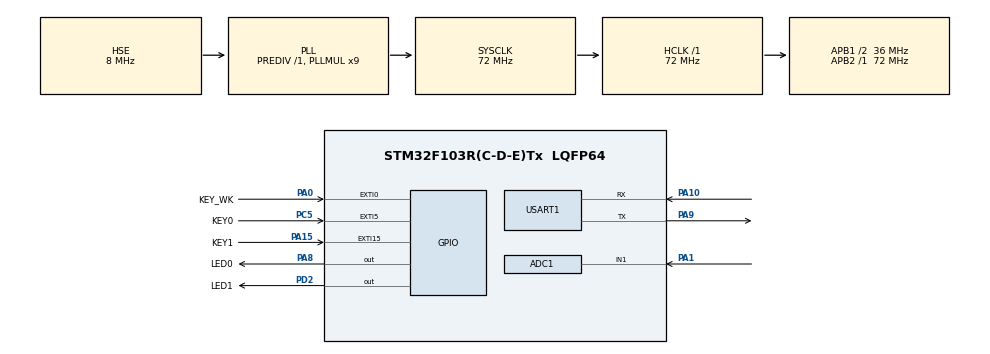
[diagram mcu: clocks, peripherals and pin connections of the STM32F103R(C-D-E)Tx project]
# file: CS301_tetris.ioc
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ADC1.Channel-0\#ChannelRegularConversion=ADC_CHANNEL_1
ADC1.NbrOfConversionFlag=1
ADC1.Rank-0\#ChannelRegularConversion=1
ADC1.SamplingTime-0\#ChannelRegularConversion=ADC_SAMPLETIME_1CYCLE_5
ADC1.master=1
Mcu.Family=STM32F1
Mcu.Name=STM32F103R(C-D-E)Tx
Mcu.Package=LQFP64
NVIC.EXTI0_IRQn=true\:1\:0\:true\:false\:true\:true\:true
NVIC.EXTI15_10_IRQn=true\:1\:2\:true\:false\:true\:true\:true
NVIC.EXTI9_5_IRQn=true\:1\:1\:true\:false\:true\:true\:true
NVIC.PriorityGroup=NVIC_PRIORITYGROUP_2
NVIC.USART1_IRQn=true\:0\:0\:false\:false\:true\:true\:true
PA0-WKUP.GPIO_Label=KEY_WK
PA0-WKUP.GPIO_PuPd=GPIO_PULLDOWN
PA0-WKUP.Signal=GPXTI0
PA1.Signal=ADCx_IN1
PA10.Mode=Asynchronous
PA10.Signal=USART1_RX
PA13.Mode=Serial_Wire
PA13.Signal=SYS_JTMS-SWDIO
PA14.Mode=Serial_Wire
PA14.Signal=SYS_JTCK-SWCLK
PA15.GPIO_Label=KEY1
PA15.GPIO_PuPd=GPIO_PULLUP
PA15.Signal=GPXTI15
PA8.GPIO_Label=LED0
PA8.Signal=GPIO_Output
PA9.Mode=Asynchronous
PA9.Signal=USART1_TX
PC5.GPIO_Label=KEY0
PC5.GPIO_PuPd=GPIO_PULLUP
PC5.Signal=GPXTI5
PD0-OSC_IN.Mode=HSE-External-Oscillator
PD0-OSC_IN.Signal=RCC_OSC_IN
PD1-OSC_OUT.Mode=HSE-External-Oscillator
PD1-OSC_OUT.Signal=RCC_OSC_OUT
PD2.GPIO_Label=LED1
PD2.Signal=GPIO_Output
ProjectManager.HeapSize=0x200
ProjectManager.StackSize=0x400
ProjectManager.TargetToolchain=STM32CubeIDE
RCC.ADCPresc=RCC_ADCPCLK2_DIV6
RCC.AHBFreq_Value=72000000
RCC.APB1CLKDivider=RCC_HCLK_DIV2
RCC.APB1Freq_Value=36000000
RCC.APB1TimFreq_Value=72000000
RCC.APB2Freq_Value=72000000
RCC.APB2TimFreq_Value=72000000
RCC.HCLKFreq_Value=72000000
RCC.PLLMUL=RCC_PLL_MUL9
RCC.PLLSourceVirtual=RCC_PLLSOURCE_HSE
RCC.SYSCLKFreq_VALUE=72000000
RCC.SYSCLKSource=RCC_SYSCLKSOURCE_PLLCLK
RCC.USBFreq_Value=72000000
SH.ADCx_IN1.0=ADC1_IN1,IN1
USART1.VirtualMode=VM_ASYNC
board=custom

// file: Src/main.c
/* USER CODE BEGIN Header */
/**
 ******************************************************************************
 * @file           : main.c
 * @brief          : Main program body
 ******************************************************************************
 * @attention
 *
 * <h2><center>&copy; Copyright (c) 2019 STMicroelectronics.
 * All rights reserved.</center></h2>
 *
 * This software component is licensed by ST under BSD 3-Clause license,
 * the "License"; You may not use this file except in compliance with the
 * License. You may obtain a copy of the License at:
 *                        opensource.org/licenses/BSD-3-Clause
 *
 ******************************************************************************
 */
/* USER CODE END Header */

#include "main.h"
#include "adc.h"
#include "usart.h"
#include "gpio.h"

/* USER CODE BEGIN Includes */
#include <stdlib.h>
#include <time.h>
#include "lcd.h"
/* USER CODE END Includes */

/* USER CODE BEGIN PV */
int board[20][10] = { 0 };
int square[2][4] = { 0 };
int nextSquare[2][4] = { 0 };

int cell_size = 15;

int score = 0;
int level = 1;
int delaytime = 750;
int id[3] = { -1 }; // initial ids
uint16_t colortable[10] = { WHITE, WHITE, LIGHTBLUE, GREEN, BLUE, YELLOW, CYAN,
GRAY, BRRED, BLACK };

int cp_row = 0; // central point row
int cp_column = 0; // central point column
int cp_list[2][2] = { 0 };
int last_position[4][2] = { 0 };
/* USER CODE END PV */

void SystemClock_Config(void);

/* USER CODE BEGIN 0 */
void DrawElements() { // Basic elements in the board
	LCD_Clear(WHITE);
	POINT_COLOR = BLACK;
	LCD_DrawRectangle(5, 2, 155, 305);
	LCD_DrawRectangle(162, 2, 228, 62);
	LCD_DrawRectangle(162, 67, 228, 132);
	LCD_ShowString(165, 140, 100, 12, 12, (uint8_t*) "Score:");
	LCD_ShowxNum(205, 140, score, 4, 12, 0);
	LCD_ShowString(165, 160, 100, 12, 12, (uint8_t*) "Level:");
	LCD_ShowxNum(205, 160, level, 4, 12, 0);
}

void CreateSquare() { // Generate random new born square
	int index = rand() % 8 + 2;
	switch (index) {
	case 2:
		nextSquare[0][0] = 1, nextSquare[0][1] = 1;
		nextSquare[0][2] = 1, nextSquare[0][3] = 1;
		nextSquare[1][0] = 0, nextSquare[1][1] = 0;
		nextSquare[1][2] = 0, nextSquare[1][3] = 0;
		cp_list[1][0] = 0;
		cp_list[1][1] = 4;
		break;
	case 3:
		nextSquare[0][0] = 0, nextSquare[0][1] = 1;
		nextSquare[0][2] = 1, nextSquare[0][3] = 0;
		nextSquare[1][0] = 0, nextSquare[1][1] = 1;
		nextSquare[1][2] = 1, nextSquare[1][3] = 0;
		cp_list[1][0] = 0;
		cp_list[1][1] = 4;
		break;
	case 4:
		nextSquare[0][0] = 0, nextSquare[0][1] = 1;
		nextSquare[0][2] = 0, nextSquare[0][3] = 0;
		nextSquare[1][0] = 1, nextSquare[1][1] = 1;
		nextSquare[1][2] = 1, nextSquare[1][3] = 0;
		cp_list[1][0] = 0;
		cp_list[1][1] = 3;
		break;
	case 5:
		nextSquare[0][0] = 0, nextSquare[0][1] = 0;
		nextSquare[0][2] = 1, nextSquare[0][3] = 0;
		nextSquare[1][0] = 1, nextSquare[1][1] = 1;
		nextSquare[1][2] = 1, nextSquare[1][3] = 0;
		cp_list[1][0] = 0;
		cp_list[1][1] = 3;
		break;
	case 6:
		nextSquare[0][0] = 1, nextSquare[0][1] = 0;
		nextSquare[0][2] = 0, nextSquare[0][3] = 0;
		nextSquare[1][0] = 1, nextSquare[1][1] = 1;
		nextSquare[1][2] = 1, nextSquare[1][3] = 0;
		cp_list[1][0] = 0;
		cp_list[1][1] = 3;
		break;
	case 7:
		nextSquare[0][0] = 0, nextSquare[0][1] = 1;
		nextSquare[0][2] = 1, nextSquare[0][3] = 0;
		nextSquare[1][0] = 1, nextSquare[1][1] = 1;
		nextSquare[1][2] = 0, nextSquare[1][3] = 0;
		cp_list[1][0] = 0;
		cp_list[1][1] = 3;
		break;
	case 8:
		nextSquare[0][0] = 1, nextSquare[0][1] = 1;
		nextSquare[0][2] = 0, nextSquare[0][3] = 0;
		nextSquare[1][0] = 0, nextSquare[1][1] = 1;
		nextSquare[1][2] = 1, nextSquare[1][3] = 0;
		cp_list[1][0] = 0;
		cp_list[1][1] = 3;
		break;
	case 9:
		nextSquare[0][0] = 0, nextSquare[0][1] = 1;
		nextSquare[0][2] = 1, nextSquare[0][3] = 0;
		nextSquare[1][0] = 0, nextSquare[1][1] = 1;
		nextSquare[1][2] = 1, nextSquare[1][3] = 0;
		cp_list[1][0] = 0;
		cp_list[1][1] = 4;
		break;
	}
	id[2] = index;
}

void Convert() { // Convert id and cp_list
	id[0] = id[1];
	cp_row = cp_list[0][0];
	cp_column = cp_list[0][1];
	id[1] = id[2];
	cp_list[0][0] = cp_list[1][0];
	cp_list[0][1] = cp_list[1][1];
}

void BringNexttoBoard() {  // Bring the next block to the board
	int row = 0;
	int column = 0;
	for (row = 0; row < 2; row++) {
		for (column = 0; column < 4; column++) {
			board[row][column + 3] = square[row][column];
		}
	}
}

void DrawNewBornBlock() { // Draw the new born block
	int row = 0;
	int col = 0;
	for (row = 0; row < 2; row++) {
		for (col = 0; col < 4; col++) {
			int x1 = col * cell_size + 165;
			int y1 = row * cell_size + 85;
			LCD_Fill(x1, y1, x1 + cell_size, y1 + cell_size, WHITE);
		}
	}
	for (row = 0; row < 2; row++) {
		for (col = 0; col < 4; col++) {
			if (nextSquare[row][col] == 1) {
				int x1 = col * cell_size + 165;
				int y1 = row * cell_size + 85;
				LCD_Fill(x1, y1, x1 + cell_size, y1 + cell_size,
						colortable[id[2]]);
				LCD_Fill(x1, y1, x1 + cell_size, y1 + 1, BLACK);
				LCD_Fill(x1, y1, x1 + 1, y1 + cell_size, BLACK);
				LCD_Fill(x1 + cell_size - 1, y1, x1 + cell_size, y1 + cell_size,
								BLACK);
				LCD_Fill(x1, y1 + cell_size - 1, x1 + cell_size, y1 + cell_size,
								BLACK);
			}
		}
	}
	if (id[2] == 9) { // TNT
		LCD_Fill(188, 93, 202, 98, RED);
		LCD_Fill(193, 98, 197, 110, RED);
	}
}

void DrawNextBlock() {  // Draw the next block
	int row = 0;
	int col = 0;
	for (row = 0; row < 2; row++) {
		for (col = 0; col < 4; col++) {
			square[row][col] = nextSquare[row][col];
		}
	}
	for (row = 0; row < 2; row++) {
		for (col = 0; col < 4; col++) {
			int x1 = col * cell_size + 165;
			int y1 = row * cell_size + 20;
			LCD_Fill(x1, y1, x1 + cell_size, y1 + cell_size, WHITE);
		}
	}
	for (row = 0; row < 2; row++) {
		for (col = 0; col < 4; col++) {
			if (square[row][col] == 1) {
				int x1 = col * cell_size + 165;
				int y1 = row * cell_size + 20;
				LCD_Fill(x1, y1, x1 + cell_size, y1 + cell_size,
						colortable[id[1]]);
				LCD_Fill(x1, y1, x1 + cell_size, y1 + 1, BLACK);
				LCD_Fill(x1, y1, x1 + 1, y1 + cell_size, BLACK);
				LCD_Fill(x1 + cell_size - 1, y1, x1 + cell_size, y1 + cell_size,
								BLACK);
				LCD_Fill(x1, y1 + cell_size - 1, x1 + cell_size, y1 + cell_size,
								BLACK);
			}
		}
	}
	if (id[1] == 9) {
		LCD_Fill(188, 28, 202, 33, RED);
		LCD_Fill(193, 33, 197, 45, RED);
	}
}

void DrawBlocks() { // Draw all the blocks on the board
	int xtnt = 0, ytnt = 0;
	int row = 0, col = 0;
	int num = 0, count = 0;
	for (num = 0; num < 4; num++) {
		int x1 = last_position[num][1] * cell_size + 5;
		int y1 = last_position[num][0] * cell_size + 5;
		LCD_Fill(x1, y1, x1 + cell_size, y1 + cell_size, WHITE);
	}
	for (row = 0; row < 20; row++) {
		for (col = 0; col < 10; col++) {
			if (board[row][col] == 1) {
				// living block
				int x1 = col * cell_size + 5;
				int y1 = row * cell_size + 5;
				xtnt = x1;
				ytnt = y1;
				LCD_Fill(x1, y1, x1 + cell_size, y1 + cell_size,
						colortable[id[0]]);
				last_position[count][1] = col;
				last_position[count][0] = row;
				count++;
				LCD_Fill(x1, y1, x1 + cell_size, y1 + 1, BLACK);
				LCD_Fill(x1, y1, x1 + 1, y1 + cell_size, BLACK);
				LCD_Fill(x1 + cell_size - 1, y1, x1 + cell_size, y1 + cell_size,
				BLACK);
				LCD_Fill(x1, y1 + cell_size - 1, x1 + cell_size, y1 + cell_size,
				BLACK);
			} else if (board[row][col] > 1) {
				// dead block
				int x1 = col * cell_size + 5;
				int y1 = row * cell_size + 5;
				LCD_Fill(x1, y1, x1 + cell_size, y1 + cell_size,
						colortable[board[row][col]]);
				LCD_Fill(x1, y1, x1 + cell_size, y1 + 1, BLACK);
				LCD_Fill(x1, y1, x1 + 1, y1 + cell_size, BLACK);
				LCD_Fill(x1 + cell_size - 1, y1, x1 + cell_size, y1 + cell_size,
				BLACK);
				LCD_Fill(x1, y1 + cell_size - 1, x1 + cell_size, y1 + cell_size,
				BLACK);
			}
		}
	}
	if (id[0] == 9) {
		xtnt = xtnt - 15;
		ytnt = ytnt - 15;
		LCD_Fill(xtnt + 8, ytnt + 8, xtnt + 22, ytnt + 13, RED);
		LCD_Fill(xtnt + 13, ytnt + 13, xtnt + 17, ytnt + 25, RED);
	}
}

void Initial() { // Initialize blocks at the beginning
	for (int i = 0; i < 20; i++) {
		for (int j = 0; j < 10; j++) {
			board[i][j] = 0;
		}
	}
	for (int i = 0; i < 3; i++) {
		BringNexttoBoard();
		Convert();
		DrawBlocks();
		DrawNextBlock();
		CreateSquare();
		DrawNewBornBlock();
	}
}

int CanSqureDown() { // Decide whether land
	for (int i = 0; i < 10; i++) {
		if (board[19][i] == 1) {
			return 0;
		}
	}
	for (int i = 18; i >= 0; i--) {
		for (int j = 0; j < 10; j++) {
			if (board[i][j] == 1 && board[i + 1][j] >= 2) {
				return 0;
			}
		}
	}
	return 1;
}

void SqureDown() { // Land one cell
	for (int i = 18; i >= 0; i--) {
		for (int j = 0; j < 10; j++) {
			if (board[i][j] == 1) {
				board[i + 1][j] = board[i][j];
				board[i][j] = 0;
			}
		}
	}
	cp_row++;
}

void TurnDeath() { // Landing block turn death
	int i = 0, j = 0;
	for (i = 0; i < 20; i++) {
		for (j = 0; j < 10; j++) {
			if (board[i][j] == 1) {
				board[i][j] = id[0];
			}
		}
	}
}

int CanShiftRight() { // Decide whether can shift right
	int i = 0, j = 0;
	for (i = 0; i < 20; i++) {
		if (board[i][9] == 1) {
			return 0;
		}
	}
	for (i = 0; i < 20; i++) {
		for (j = 9; j >= 0; j--) {
			if (board[i][j] == 1 && board[i][j + 1] > 1) {
				return 0;
			}
		}
	}
	return 1;
}

void ShiftRight() {
	if (CanShiftRight()) {
		int i = 0, j = 0;
		for (i = 0; i < 20; i++) {
			for (j = 9; j >= 0; j--) {
				if (board[i][j] == 1) {
					board[i][j + 1] = board[i][j];
					board[i][j] = 0;
				}
			}
		}
		cp_column++;
	}
}

int CanShiftLeft() { // Decide whether can shift left
	int i = 0, j = 0;
	for (i = 0; i < 20; i++) {
		if (board[i][0] == 1) {
			return 0;
		}
	}
	for (i = 0; i < 20; i++) {
		for (j = 0; j < 10; j++) {
			if (board[i][j] == 1 && board[i][j - 1] > 1) {
				return 0;
			}
		}
	}
	return 1;
}

void ShiftLeft() {
	if (CanShiftLeft()) {
		int i = 0, j = 0;
		for (i = 0; i < 20; i++) {
			for (j = 0; j < 10; j++) {
				if (board[i][j] == 1) {
					board[i][j - 1] = board[i][j];
					board[i][j] = 0;
				}
			}
		}
		cp_column--;
	}
}

int NormalShapeVerify() {
	if (id[0] == 3)
		return 1;
	if(id[0]==9)
		return 0;
	else {
		int i = 0, j = 0;
		for (i = 0; i < 3; i++) {
			for (j = 0; j < 3; j++) {
				if (board[i][j] > 1)
					return 0;
			}
		}
	}
	if (cp_column < 0)
		cp_column = 0;
	else if (cp_column > 7)
		cp_column = 7;

	return 1;

}

void NormalShapChange() {
	if (id[0] == 3 ||id[0]==9)
		return;
	else {
		int i = 0, j = 0;
		int tempAry[3][3] = { 0 };
		for (i = 0; i < 3; i++) {
			for (j = 0; j < 3; j++) {
				if (board[cp_row + i][cp_column + j] == 1)
					tempAry[i][j] = board[cp_row + i][cp_column + j];
			}
		}
		int temp2Ary[3][3] = { 0 };
		for (i = 0; i < 3; i++) {
			for (j = 0; j < 3; j++) {
				temp2Ary[i][j] = tempAry[2 - j][i];
			}
		}
		for (i = 0; i < 3; i++) {
			for (j = 0; j < 3; j++) {
				if (temp2Ary[i][j] == 1 && board[cp_row + i][cp_column + j] > 1)
					return;
			}
		}
		for (i = 0; i < 3; i++) {
			for (j = 0; j < 3; j++) {
				if (board[cp_row + i][cp_column + j] == 1)
					board[cp_row + i][cp_column + j] = 0;
			}
		}
		for (i = 0; i < 3; i++) {
			for (j = 0; j < 3; j++) {
				if (temp2Ary[i][j] == 1)
					board[cp_row + i][cp_column + j] = 1;
			}
		}

	}

}

int LongShapeVerify() {
	if (cp_row == 0 || cp_column == 0 || cp_column >= 8)
		return 0;
	int i = 0, j = 0;
	for (i = 1; i < 4; i++) { // |==>--, right
		if (board[cp_row][cp_column + i] > 1 || cp_column + i > 9)
			break;
	}
	for (j = 1; j < 4; j++) { // --==>|, left
		if (board[cp_row][cp_column - j] > 1 || cp_column - j < 0)
			break;
	}
	if (i + j < 5)
		return 0;
	return 1;
}

void LongShapeChange() {
	if (board[cp_row][cp_column - 1] == 1) { // -- ==>|
		if (cp_row + 2 > 19)
			return;
		board[cp_row][cp_column - 1] = 0;
		board[cp_row][cp_column + 1] = 0;
		board[cp_row][cp_column + 2] = 0;

		board[cp_row - 1][cp_column] = 1;
		board[cp_row + 1][cp_column] = 1;
		board[cp_row + 2][cp_column] = 1;

	} else { // | ==> --
		if (!(board[cp_row][cp_column - 1] + board[cp_row][cp_column + 1]
				+ board[cp_row][cp_column + 2] >= 6)) {
			if (cp_column + 2 > 9)
				return;
			board[cp_row - 1][cp_column] = 0;
			board[cp_row + 1][cp_column] = 0;
			board[cp_row + 2][cp_column] = 0;

			board[cp_row][cp_column - 1] = 1;
			board[cp_row][cp_column + 1] = 1;
			board[cp_row][cp_column + 2] = 1;
		}
	}
}

void ChangeVerify() {
	switch (id[0]) {
	case 2:
		if (LongShapeVerify())
			LongShapeChange();
		break;
	default:
		if (NormalShapeVerify())
			NormalShapChange();
		break;
	}
	DrawBlocks();
	LCD_DrawRectangle(5, 2, 155, 305);
}

void HAL_GPIO_EXTI_Callback(uint16_t GPIO_Pin) {
	switch (GPIO_Pin) {
	case KEY0_Pin:
		ShiftRight();
		HAL_Delay(75);
		break;
	case KEY1_Pin:
		ShiftLeft();
		HAL_Delay(75);
		break;
	case KEY_WK_Pin:
		HAL_Delay(125);
		ChangeVerify();
		HAL_Delay(125);
		break;
	default:
		break;
	}

}

void ChangeSpeed() {
	if (score >= 200 && score < 400) {
		delaytime = 500;
		level = 2;
	}
	if (score >= 400) {
		delaytime = 300;
		level = 3;
	}
}

void EliminateLine() {
	int i = 0, j = 0, k = 0;
	int flag = 1;
	int cflag = 0;
	for (i = 19; i >= 0; i--) {
		for (j = 0; j < 10; j++) {
			if (board[i][j] <= 1) {
				flag = 0;
				break;
			}
		}
		if (flag) {
			for (k = i - 1; k >= 0; k--) {
				for (j = 0; j < 10; j++) {
					board[k + 1][j] = board[k][j];
				}
			}
			cflag = 1;
			score += 100;
			ChangeSpeed();
			LCD_ShowxNum(205, 140, score, 4, 12, 0);
			LCD_ShowxNum(205, 160, level, 4, 12, 0);
			i++;
		}
		flag = 1;
	}
	if (cflag) {
		int row = 0, col = 0;
		for (row = 0; row < 20; row++) {
			for (col = 0; col < 10; col++) {
				int x1 = col * cell_size + 5;
				int y1 = row * cell_size + 5;
				LCD_Fill(x1, y1, x1 + cell_size, y1 + cell_size,
						colortable[board[row][col]]);
			}
		}
	}
}

int isGameOver() {
	int i = 0;
	for (i = 0; i < 10; i++) {
		if (board[0][i] >= 2) {
			return 1;
		}
	}
	return 0;
}

void Bomb() {
	int i = 0, j = 0;
	for (i = cp_row - 1; i <= cp_row + 2; i++) {
		for (j = cp_column - 1; j <= cp_column + 2; j++) {
			if (i >= 0 && i < 20 && j >= 0 && j < 10) {
				if (board[i][j] >= 2) {
					score += 20;
				}
				board[i][j] = 0;
				int x = j * cell_size + 5;
				int y = i * cell_size + 5;
				LCD_Fill(x, y, x + cell_size, y + cell_size, RED);
			}
		}
	}
	HAL_Delay(500);
	ChangeSpeed();
	LCD_ShowxNum(205, 140, score, 4, 12, 0);
	LCD_ShowxNum(205, 160, level, 4, 12, 0);
	for (i = cp_row - 1; i <= cp_row + 2; i++) {
		for (j = cp_column - 1; j <= cp_column + 2; j++) {
			if (i >= 0 && i < 20 && j >= 0 && j < 10) {
				int x = j * cell_size + 5;
				int y = i * cell_size + 5;
				LCD_Fill(x, y, x + cell_size, y + cell_size, WHITE);
			}
		}
	}
}
/* USER CODE END 0 */

int main(void) {

	/* MCU Configuration--------------------------------------------------------*/

	/* Reset of all peripherals, Initializes the Flash interface and the Systick. */
	HAL_Init();

	/* Configure the system clock */
	SystemClock_Config();

	/* USER CODE BEGIN SysInit */
	LCD_Init();
	/* USER CODE END SysInit */

	/* Initialize all configured peripherals */
	MX_GPIO_Init();
	MX_ADC1_Init();
	MX_USART1_UART_Init();
	/* USER CODE BEGIN 2 */
	HAL_ADC_Start(&hadc1);
	HAL_ADC_PollForConversion(&hadc1, HAL_MAX_DELAY);
// Start screen
	LCD_Clear(BLUE);
	POINT_COLOR = RED;
	LCD_ShowString(10, 65, 200, 24, 24, (uint8_t*) "Welcome to TETRIS");
	LCD_ShowString(10, 125, 220, 16, 16, (uint8_t*) "Game starts in 3 seconds");
	HAL_Delay(3000);

	uint16_t iSeed = HAL_ADC_GetValue(&hadc1);
	srand(iSeed); // random seed
//Start Game
	DrawElements();
	Initial();
	/* USER CODE END 2 */

	/* Infinite loop */
	while (1) {
		/* USER CODE BEGIN 3 */
		if (CanSqureDown()) {
			SqureDown();
			DrawBlocks();
		} else {
			if (id[0] == 9) {
				Bomb();
			} else {
				TurnDeath();
				EliminateLine();
				if (isGameOver()) {
					LCD_Clear(BLUE);
					LCD_ShowString(10, 65, 200, 24, 24, (uint8_t*) "YOU DEAD");
					break;
				}
			}
			BringNexttoBoard();
			Convert();
			DrawBlocks();
			DrawNextBlock();
			CreateSquare();
			DrawNewBornBlock();
		}
		LCD_DrawRectangle(5, 2, 155, 305);
		HAL_Delay(delaytime);
	}
	/* USER CODE END 3 */
}

void SystemClock_Config(void) {
	RCC_OscInitTypeDef RCC_OscInitStruct = { 0 };
	RCC_ClkInitTypeDef RCC_ClkInitStruct = { 0 };
	RCC_PeriphCLKInitTypeDef PeriphClkInit = { 0 };

	/** Initializes the CPU, AHB and APB busses clocks
	 */
	RCC_OscInitStruct.OscillatorType = RCC_OSCILLATORTYPE_HSE;
	RCC_OscInitStruct.HSEState = RCC_HSE_ON;
	RCC_OscInitStruct.HSEPredivValue = RCC_HSE_PREDIV_DIV1;
	RCC_OscInitStruct.HSIState = RCC_HSI_ON;
	RCC_OscInitStruct.PLL.PLLState = RCC_PLL_ON;
	RCC_OscInitStruct.PLL.PLLSource = RCC_PLLSOURCE_HSE;
	RCC_OscInitStruct.PLL.PLLMUL = RCC_PLL_MUL9;
	if (HAL_RCC_OscConfig(&RCC_OscInitStruct) != HAL_OK) {
		Error_Handler();
	}
	/** Initializes the CPU, AHB and APB busses clocks
	 */
	RCC_ClkInitStruct.ClockType = RCC_CLOCKTYPE_HCLK | RCC_CLOCKTYPE_SYSCLK
			| RCC_CLOCKTYPE_PCLK1 | RCC_CLOCKTYPE_PCLK2;
	RCC_ClkInitStruct.SYSCLKSource = RCC_SYSCLKSOURCE_PLLCLK;
	RCC_ClkInitStruct.AHBCLKDivider = RCC_SYSCLK_DIV1;
	RCC_ClkInitStruct.APB1CLKDivider = RCC_HCLK_DIV2;
	RCC_ClkInitStruct.APB2CLKDivider = RCC_HCLK_DIV1;

	if (HAL_RCC_ClockConfig(&RCC_ClkInitStruct, FLASH_LATENCY_2) != HAL_OK) {
		Error_Handler();
	}
	PeriphClkInit.PeriphClockSelection = RCC_PERIPHCLK_ADC;
	PeriphClkInit.AdcClockSelection = RCC_ADCPCLK2_DIV6;
	if (HAL_RCCEx_PeriphCLKConfig(&PeriphClkInit) != HAL_OK) {
		Error_Handler();
	}
}

void Error_Handler(void) {
}

/************************ (C) COPYRIGHT STMicroelectronics *****END OF FILE****/
